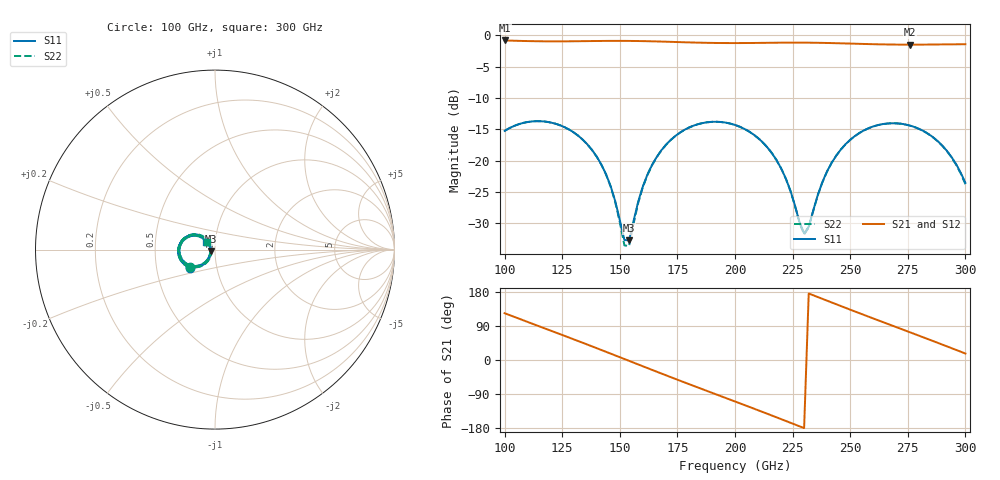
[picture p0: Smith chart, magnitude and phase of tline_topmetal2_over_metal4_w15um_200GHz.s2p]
#  GHZ S DB R 50
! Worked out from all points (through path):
!   101 points, 100 GHz to 300 GHz, reference 50 ohm
!   highest |S21| = -0.84 dB at 100 GHz (marker M1); lowest = -1.5 dB at 276 GHz (marker M2)
!   group delay of S21, straight-line fit = 6.49 ps
!   lowest |S11| = -32.7 dB at 154 GHz (marker M3), VSWR 1.05, Z = 47.9 - j0.832 ohm
!   |S11| at or under -10 dB: start of sweep to end of sweep
!   |S22| runs from -33.7 to -13.7 dB; largest |S21 - S12| = 1.5e-13
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100  -15.27 -144.4  -0.84 123.5  -0.84 123.5  -15.26 -144.8
116  -13.73 -178.4  -0.98 86.7  -0.98 86.7  -13.73 -178.9
134  -16.70 144.9  -0.96 45.2  -0.96 45.2  -16.70 144.0
144  -22.17 130.0  -0.92 21.7  -0.92 21.7  -22.22 128.3
148  -26.45 131.8  -0.91 12.1  -0.91 12.1  -26.61 129.0
152  -32.67 163.6  -0.91 2.6  -0.91 2.6  -33.53 160.7
154  -32.75 -157.9  -0.92 -2.2  -0.92 -2.2  -33.66 -155.8
160  -24.13 -122.7  -0.95 -16.5  -0.95 -16.5  -24.25 -120.7
168  -18.38 -130.8  -1.02 -35.5  -1.02 -35.5  -18.41 -129.7
184  -14.19 -161.5  -1.19 -72.8  -1.19 -72.8  -14.20 -161.1
200  -14.32 166.1  -1.26 -109.4  -1.26 -109.4  -14.32 166.4
218  -19.92 134.6  -1.21 -151.3  -1.21 -151.3  -19.92 134.5
224  -24.76 133.2  -1.19 -165.4  -1.19 -165.4  -24.78 132.9
230  -31.62 177.8  -1.20 -179.7  -1.20 -179.7  -31.78 177.5
234  -27.90 -136.4  -1.21 170.7  -1.21 170.7  -27.99 -135.9
240  -21.70 -127.8  -1.25 156.5  -1.25 156.5  -21.73 -127.4
248  -17.39 -137.8  -1.32 137.6  -1.32 137.6  -17.40 -137.7
258  -14.84 -156.1  -1.42 114.3  -1.42 114.3  -14.85 -156.1
268  -14.05 -175.6  -1.49 91.3  -1.49 91.3  -14.06 -175.7
276  -14.43 168.9  -1.51 73.0  -1.51 73.0  -14.44 168.6
290  -17.62 144.3  -1.48 40.6  -1.48 40.6  -17.66 143.4
300  -23.57 138.1  -1.45 17.1  -1.45 17.1  -23.76 135.9
